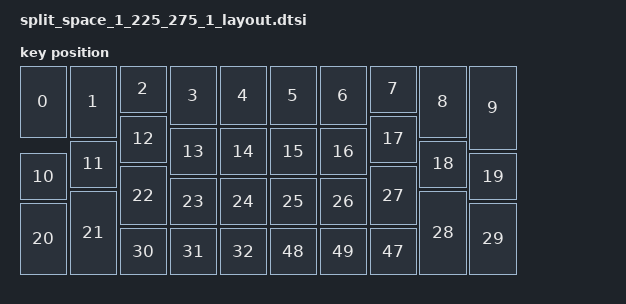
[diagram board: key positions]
#include <physical_layouts.dtsi>

#include "position_map.dtsi"

/ {
    split_space_1_225_275_1_layout: split_space_1_225_275_1_layout {
        compatible = "zmk,physical-layout";
        display-name = "split space (1U+2.25U+2.75U+1U)";

        keys  //                 w   h    x    y     rot    rx    ry
        = <&key_physical_attrs 100 150    0    0       0     0     0> // TAB
        , <&key_physical_attrs 100 150  100    0       0     0     0> // Q
        , <&key_physical_attrs 100 100  200    0       0     0     0> // W
        , <&key_physical_attrs 100 125  300    0       0     0     0> // E
        , <&key_physical_attrs 100 125  400    0       0     0     0> // R
        , <&key_physical_attrs 100 125  500    0       0     0     0> // T
        , <&key_physical_attrs 100 125  600    0       0     0     0> // Y
        , <&key_physical_attrs 100 100  700    0       0     0     0> // U
        , <&key_physical_attrs 100 150  800    0       0     0     0> // I
        , <&key_physical_attrs 100 175  900    0       0     0     0> // O
        , <&key_physical_attrs 100 100    0  175       0     0     0> // P
        , <&key_physical_attrs 100 100  100  150       0     0     0> // [
        , <&key_physical_attrs 100 100  200  100       0     0     0> // ]
        , <&key_physical_attrs 100 100  300  125       0     0     0> // \
        , <&key_physical_attrs 100 100  400  125       0     0     0> // CAPS
        , <&key_physical_attrs 100 100  500  125       0     0     0> // A
        , <&key_physical_attrs 100 100  600  125       0     0     0> // S
        , <&key_physical_attrs 100 100  700  100       0     0     0> // D
        , <&key_physical_attrs 100 100  800  150       0     0     0> // F
        , <&key_physical_attrs 100 100  900  175       0     0     0> // G
        , <&key_physical_attrs 100 150    0  275       0     0     0> // H
        , <&key_physical_attrs 100 175  100  250       0     0     0> // J
        , <&key_physical_attrs 100 125  200  200       0     0     0> // K
        , <&key_physical_attrs 100 100  300  225       0     0     0> // L
        , <&key_physical_attrs 100 100  400  225       0     0     0> // ;
        , <&key_physical_attrs 100 100  500  225       0     0     0> // '
        , <&key_physical_attrs 100 100  600  225       0     0     0> // ENTER
        , <&key_physical_attrs 100 125  700  200       0     0     0> // SHIFT
        , <&key_physical_attrs 100 175  800  250       0     0     0> // Z
        , <&key_physical_attrs 100 150  900  275       0     0     0> // X
        , <&key_physical_attrs 100 100  200  325       0     0     0> // C
        , <&key_physical_attrs 100 100  300  325       0     0     0> // V
        , <&key_physical_attrs 100 100  400  325       0     0     0> // B
        , <&key_physical_attrs 100 100  500  325       0     0     0> // N
        , <&key_physical_attrs 100 100  600  325       0     0     0> // M
        , <&key_physical_attrs 100 100  700  325       0     0     0> // ,
        , <&key_physical_attrs 100 100  500  325       0     0     0> // .
        , <&key_physical_attrs 100 100  600  325       0     0     0> // /
        , <&key_physical_attrs 100 100  700  325       0     0     0> // SHIFT
        , <&key_physical_attrs 100 100  500  325       0     0     0> // FN
        , <&key_physical_attrs 100 100  600  325       0     0     0> // CTRL
        , <&key_physical_attrs 100 100  700  325       0     0     0> // WIN
        , <&key_physical_attrs 100 100  500  325       0     0     0> // ALT
        , <&key_physical_attrs 100 100  600  325       0     0     0> // FN
        , <&key_physical_attrs 100 100  600  325       0     0     0> // SPACE
        , <&key_physical_attrs 100 100  600  325       0     0     0> // BACKSPACE
        , <&key_physical_attrs 100 100  600  325       0     0     0> // FN
        , <&key_physical_attrs 100 100  700  325       0     0     0> // ALT
        , <&key_physical_attrs 100 100  500  325       0     0     0> // WIN
        , <&key_physical_attrs 100 100  600  325       0     0     0> // MENU
        ;
    };
};

&split_space_1_225_275_1_map{
        split_space_1_225_275_1 {
                physical-layout = <&split_space_1_225_275_1_layout>;

                positions
                = < 0  1  2  3  4  5  6  7  8  9  10 11 12 13>
                , <14 15 16 17 18 19 20 21 22 23 24 25 26>
                , <27 28 29 30 31 32 33 34 35 36 37 38 39>
                , <40 41 42 43   44  45   46 47 48 49>;
        };
};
